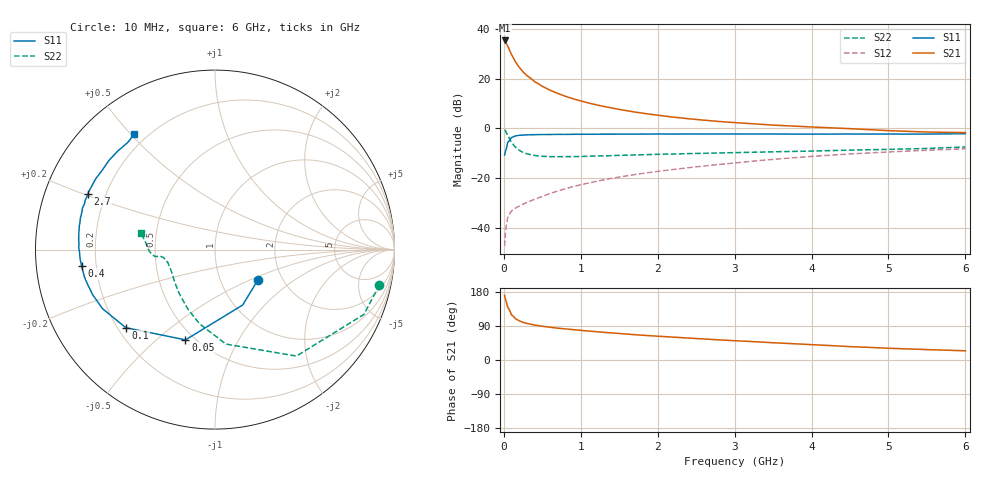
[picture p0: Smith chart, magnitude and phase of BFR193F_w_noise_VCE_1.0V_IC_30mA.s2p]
! Infineon Technologies  Discrete & RF Semiconductors
! BFR193F
! VCE =  1.0 V,  IC =  30 mA
! Common Emitter S-Parameters:  Jan 2017
# GHz  S  MA  R  50
!  f  S11  S21  S12  S22
! GHz  MAG  ANG  MAG  ANG  MAG  ANG  MAG  ANG
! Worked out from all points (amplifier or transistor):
!   77 points, 10 MHz to 6 GHz, reference 50 ohm
!   highest |S21| = 35.4 dB at 10 MHz (marker M1)
!   |S21| within 3 dB of that: start of sweep to 61.98 MHz
!   unconditionally stable (mu >= 1): 869.1 MHz to 2.963 GHz
!   at 130 MHz: K = 0.41, MSG = 30.2 dB, |S12| = -32.5 dB
!   at 2.2 GHz: K = 1.04, MAG = 9.3 dB, |S12| = -16.5 dB
!   at 6 GHz: K = 0.92, MSG = 3.3 dB, |S12| = -8.2 dB
!   lowest NFmin = 1.18 dB at 450 MHz
!   S11 on the Smith chart (normalised r, x): 10 MHz: 1.51, -0.56; 50 MHz: 0.45, -0.63; 100 MHz: 0.23, -0.36; 400 MHz: 0.14, -0.06; 2.7 GHz: 0.13, +0.20; 6 GHz: 0.15, +0.51
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0.01  0.2928 -35.1  58.64 170.7  0.0043 82.6  0.9369 -12.1
0.02  0.3452 -63.5  56.52 160.9  0.0078 74.8  0.9051 -23.5
0.05  0.5293 -108.1  45.51 139.1  0.0162 57.9  0.7468 -52.6
0.1  0.6605 -138.8  30.4 119.0  0.022 46.6  0.5299 -83.4
0.15  0.7079 -152.3  21.9 109.2  0.025 44.6  0.4207 -102.1
0.2  0.7265 -159.8  16.92 103.3  0.0275 45.1  0.3636 -114.6
0.25  0.736 -164.8  13.7 99.4  0.0301 47.6  0.3275 -124.6
0.3  0.7431 -168.2  11.55 96.5  0.0326 49.1  0.3093 -131.7
0.4  0.7492 -173.1  8.731 92.0  0.0376 53.9  0.2862 -142.2
0.5  0.7536 -176.1  7.026 89.0  0.043 58.0  0.2753 -149.3
0.6  0.7546 -178.6  5.885 86.4  0.0493 60.6  0.271 -154.4
0.7  0.7591 179.1  5.056 84.0  0.0551 62.3  0.2706 -157.7
0.9  0.762 175.5  3.949 80.1  0.0676 65.8  0.272 -163.3
1.1  0.765 172.7  3.249 76.4  0.0799 67.3  0.2765 -166.2
1.3  0.768 170.0  2.767 73.0  0.0925 68.1  0.2805 -168.6
1.6  0.7703 166.6  2.268 68.4  0.1116 68.9  0.2903 -171.2
2.1  0.7724 161.8  1.766 61.6  0.1432 69.1  0.3041 -172.7
2.7  0.7726 156.5  1.422 54.3  0.1821 68.1  0.319 -173.3
3.1  0.7724 153.0  1.281 49.9  0.2094 67.3  0.3288 -173.2
4.1  0.7686 143.7  1.053 39.5  0.2804 62.5  0.3538 -176.1
5.1  0.7706 133.5  0.891 30.3  0.3417 56.2  0.3827 175.7
6  0.7847 124.9  0.825 24.3  0.3896 50.6  0.4246 167.4
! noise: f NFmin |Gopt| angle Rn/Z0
0.45  1.18  0.39  176  0.06
0.9  1.27  0.42  176  0.07
1.9  1.84  0.57  -168  0.07
2.4  2.13  0.61  -159  0.11
